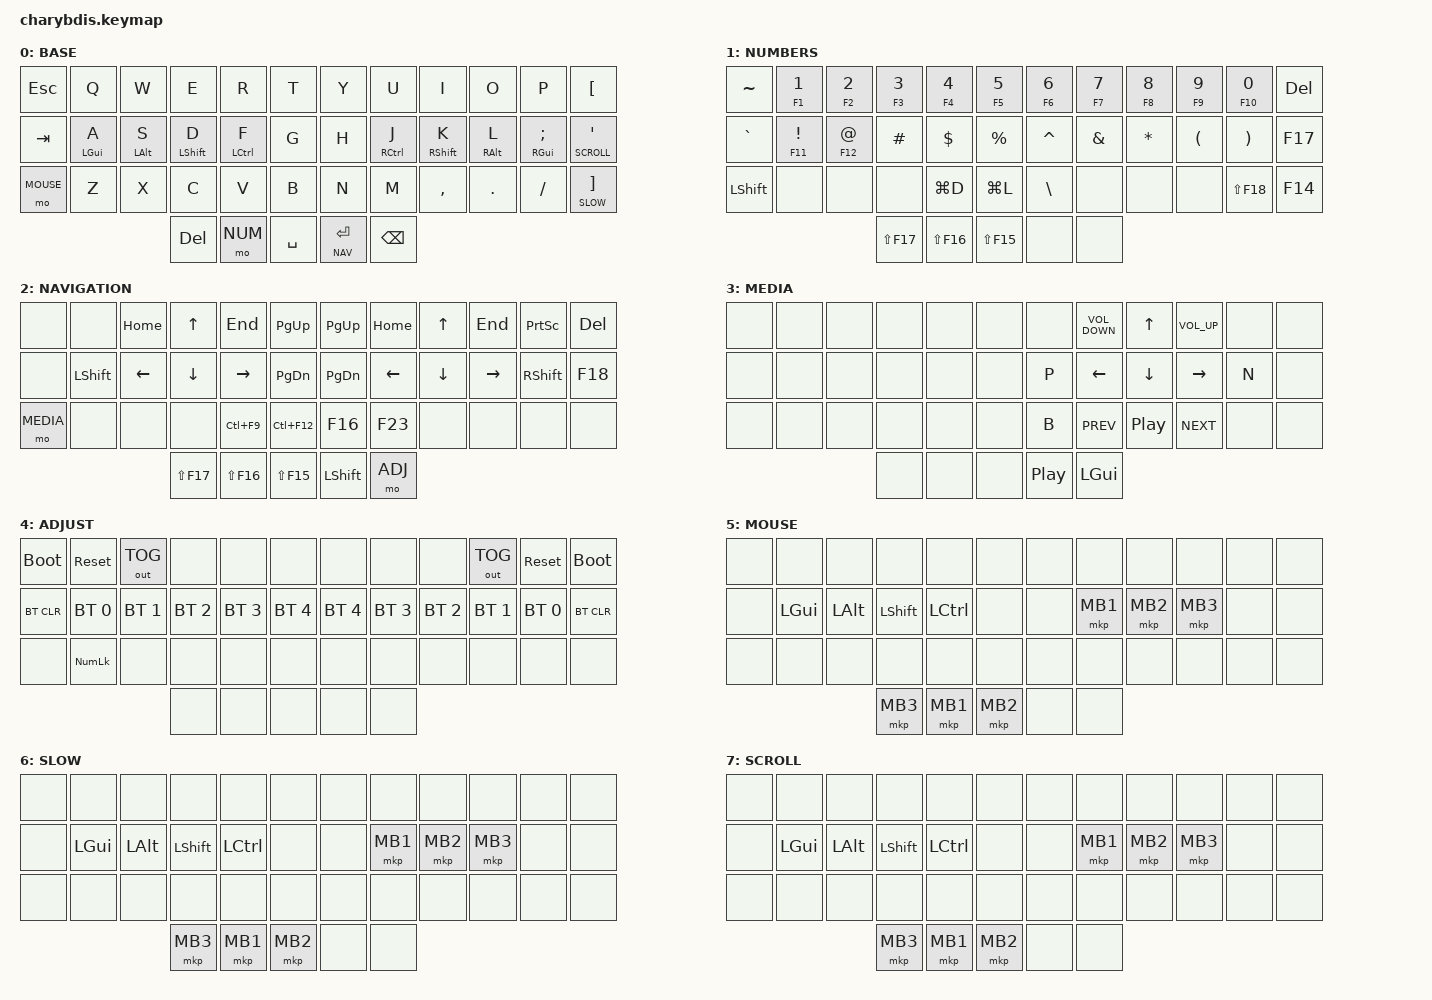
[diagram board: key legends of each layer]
/* upstream bindings and behaviors */
#include <behaviors.dtsi>
#include <dt-bindings/zmk/bt.h>
#include <dt-bindings/zmk/keys.h>
#include <dt-bindings/zmk/mouse.h>
#include <dt-bindings/zmk/outputs.h>
#include <behaviors/mouse_keys.dtsi>
#include <dt-bindings/zmk/ext_power.h>

/* local overlays */
//#include "macros.dtsi"
#include "behaviors.dtsi"
#include "combos.dtsi"
#include "layers.dtsi"

/ {
/* --- KEYMAP CONFIG --- */
// ╭──────┬──────┬──────┬──────┬──────┬──────╮  ╭──────┬──────┬──────┬──────┬──────┬──────╮
//    00     01     02     03    04      05        06     07     08     09     10     11
// ├──────┼──────┼──────┼──────┼──────┼──────┤  ├──────┼──────┼──────┼──────┼──────┼──────┤
//    12     13     14     15    16      17        18     19     20     21     22     23
// ├──────┼──────┼──────┼──────┼──────┼──────┤  ├──────┼──────┼──────┼──────┼──────┼──────┤
//    24     25     26     27    28      29        30     31     32     33     34     35
// ╰──────┴──────┴──────┼──────┼──────┼──────┤  ├──────┼──────┼──────┴──────┴──────┴──────╯
//                         36     37     38        39     40
//                      ╰──────┴──────┴──────╯  ╰──────┴──────╯

    keymap {
        compatible = "zmk,keymap";
        BASE {
			display-name = "BASE";
            bindings = <
// ╭─────────────┬───────────────┬───────────────┬────────────────┬────────────────┬──────────────╮   ╭───────────────┬────────────────┬────────────────┬───────────────┬──────────────────┬──────────────────────────╮
      &kp ESC       &kp Q           &kp W           &kp E            &kp R            &kp T              &kp Y           &kp U            &kp I            &kp O           &kp P              &kp LEFT_BRACKET
// ├─────────────┼───────────────┼───────────────┼────────────────┼────────────────┼──────────────┤   ├───────────────┼────────────────┼────────────────┼───────────────┼──────────────────┼──────────────────────────┤
	  &kp TAB       &hml LGUI A     &hml LALT S     &hml LSHFT D     &hml LCTRL F     &kp G              &kp H           &hmr RCTRL J     &hmr RSHFT K     &hmr RALT L     &hmr RGUI SEMI     &lt SCROLL SQT
// ├─────────────┼───────────────┼───────────────┼────────────────┼────────────────┼──────────────┤   ├───────────────┼────────────────┼────────────────┼───────────────┼──────────────────┼──────────────────────────┤
      &mo MOUSE     &kp Z           &kp X           &kp C            &kp V            &kp B              &kp N           &kp M            &kp COMMA        &kp DOT         &kp FSLH           &lt SLOW RIGHT_BRACKET
// ╰─────────────┴───────────────┼───────────────┼────────────────┼────────────────┼──────────────┤   ├───────────────┼────────────────┼────────────────┼───────────────┼──────────────────┴──────────────────────────╯
                                                    &kp DEL          &mo NUM          &kp  SPACE         &lt NAV RET     &kp BSPC
//                                               ╰────────────────┴────────────────┴──────────────╯   ╰───────────────┴────────────────╯
            >;
        };

        NUM {
			display-name = "NUMBERS";
			bindings = <
// ╭─────────────┬────────────────┬──────────────┬───────────────┬───────────────┬───────────────╮   ╭─────────────┬─────────────┬─────────────┬─────────────┬───────────────┬───────────╮
	  &kp TILDE     &hm F1 N1        &hm F2 N2      &hm F3 N3       &hm F4 N4       &hm F5 N5           &hm F6 N6     &hm F7 N7     &hm F8 N8     &hm F9 N9     &hm F10 N0      &kp DEL
// ├─────────────┼────────────────┼──────────────┼───────────────┼───────────────┼───────────────┤   ├─────────────┼─────────────┼─────────────┼─────────────┼───────────────┼───────────┤
	  &kp GRAVE     &hm F11 EXCL     &hm F12 AT     &kp HASH        &kp DLLR        &kp PRCNT           &kp CARET     &kp AMPS      &kp ASTRK     &kp LPAR      &kp RPAR        &kp F17
// ├─────────────┼────────────────┼──────────────┼───────────────┼───────────────┼───────────────┤   ├─────────────┼─────────────┼─────────────┼─────────────┼───────────────┼───────────┤
	  &kp LSHFT     &none            &none          &none           &kp LG(D)       &kp LG(L)           &kp BSLH      &none         &none         &none         &kp LS(F18)     &kp F14
// ╰─────────────┴────────────────┼──────────────┼───────────────┼───────────────┼───────────────┤   ├─────────────┼─────────────┼─────────────┼─────────────┼───────────────┴───────────╯
												    &kp LS(F17)     &kp LS(F16)     &kp LS(F15)         &none         &none
//                                               ╰───────────────┴───────────────┴───────────────╯   ╰─────────────┴─────────────╯
            >;
        };

        NAV {
			display-name = "NAVIGATION";
			bindings = <
// ╭─────────────┬─────────────┬────────────┬───────────────┬───────────────┬───────────────╮   ╭─────────────┬────────────┬────────────┬─────────────┬─────────────┬───────────╮
	  &none         &none         &kp HOME     &kp UP          &kp END         &kp PG_UP           &kp PG_UP     &kp HOME     &kp UP       &kp END       &kp PSCRN     &kp DEL
// ├─────────────┼─────────────┼────────────┼───────────────┼───────────────┼───────────────┤   ├─────────────┼────────────┼────────────┼─────────────┼─────────────┼───────────┤
	  &none         &kp LSHFT     &kp LEFT     &kp DOWN        &kp RIGHT       &kp PG_DN           &kp PG_DN     &kp LEFT     &kp DOWN     &kp RIGHT     &kp RSHFT     &kp F18
// ├─────────────┼─────────────┼────────────┼───────────────┼───────────────┼───────────────┤   ├─────────────┼────────────┼────────────┼─────────────┼─────────────┼───────────┤
	  &mo MEDIA     &none         &none        &none           &kp LC(F9)      &kp LC(F12)         &kp F16       &kp F23      &none        &none         &none         &none
// ╰─────────────┴─────────────┼────────────┼───────────────┼───────────────┼───────────────┤   ├─────────────┼────────────┼────────────┼─────────────┼─────────────┴───────────╯
											   &kp LS(F17)     &kp LS(F16)     &kp LS(F15)         &kp LSHFT     &mo ADJ
//                                          ╰───────────────┴───────────────┴───────────────╯   ╰─────────────┴────────────╯
            >;
        };

		MEDIA {
			display-name = "MEDIA";
			bindings = <
// ╭─────────┬─────────┬─────────┬─────────┬─────────┬─────────╮   ╭────────────────────┬─────────────────────┬────────────┬───────────────────┬─────────┬─────────╮
      &none     &none     &none     &none     &none     &none         &none                &kp C_VOLUME_DOWN     &kp UP       &kp C_VOLUME_UP     &none     &none
// ├─────────┼─────────┼─────────┼─────────┼─────────┼─────────┤   ├────────────────────┼─────────────────────┼────────────┼───────────────────┼─────────┼─────────┤
	  &none     &none     &none     &none     &none     &none         &kp P                &kp LEFT              &kp DOWN     &kp RIGHT           &kp N     &none
// ├─────────┼─────────┼─────────┼─────────┼─────────┼─────────┤   ├────────────────────┼─────────────────────┼────────────┼───────────────────┼─────────┼─────────┤
	  &none     &none     &none     &none     &none     &none         &kp B                &kp C_PREV            &kp C_PP     &kp C_NEXT          &none     &none
// ╰─────────┴─────────┼─────────┼─────────┼─────────┼─────────┤   ├────────────────────┼─────────────────────┼────────────┼───────────────────┼─────────┴─────────╯
									&none     &none    &none          &kp C_PLAY_PAUSE     &kp LGUI
//                               ╰─────────┴─────────┴─────────╯   ╰────────────────────┴─────────────────────╯
            >;
        };
		
		ADJUST {
			display-name = "ADJUST";
			bindings = <
// ╭───────────────┬──────────────────┬────────────────┬────────────────┬────────────────┬────────────────╮   ╭────────────────┬────────────────┬────────────────┬────────────────┬────────────────┬───────────────╮
	  &bootloader     &sys_reset         &out OUT_TOG     &none            &none            &none                &none            &none            &none            &out OUT_TOG     &sys_reset       &bootloader
// ├───────────────┼──────────────────┼────────────────┼────────────────┼────────────────┼────────────────┤   ├────────────────┼────────────────┼────────────────┼────────────────┼────────────────┼───────────────┤
	  &bt BT_CLR      &bt BT_SEL 0       &bt BT_SEL 1     &bt BT_SEL 2     &bt BT_SEL 3     &bt BT_SEL 4         &bt BT_SEL 4     &bt BT_SEL 3     &bt BT_SEL 2     &bt BT_SEL 1     &bt BT_SEL 0     &bt BT_CLR
// ├───────────────┼──────────────────┼────────────────┼────────────────┼────────────────┼────────────────┤   ├────────────────┼────────────────┼────────────────┼────────────────┼────────────────┼───────────────┤
	  &none           &kp KP_NUMLOCK     &none            &none            &none            &none                &none            &none            &none            &none            &none            &none
// ╰───────────────┴──────────────────┼────────────────┼────────────────┼────────────────┼────────────────┤   ├────────────────┼────────────────┼────────────────┼────────────────┼────────────────┴───────────────╯
												          &none            &none            &none                &none            &none
//                                                     ╰────────────────┴────────────────┴────────────────╯   ╰────────────────┴────────────────╯
			>;
		};
		
		MOUSE {
			display-name = "MOUSE";
			bindings = <
// ╭─────────┬────────────┬────────────┬─────────────┬─────────────┬────────────╮   ╭─────────┬────────────┬────────────┬────────────┬─────────┬─────────╮
      &none     &none        &none        &none         &none         &none            &none     &none        &none        &none        &none     &none
// ├─────────┼────────────┼────────────┼─────────────┼─────────────┼────────────┤   ├─────────┼────────────┼────────────┼────────────┼─────────┼─────────┤
	  &none     &kp LGUI     &kp LALT     &kp LSHFT     &kp LCTRL     &none            &none     &mkp MB1     &mkp MB2     &mkp MB3     &none     &none
// ├─────────┼────────────┼────────────┼─────────────┼─────────────┼────────────┤   ├─────────┼────────────┼────────────┼────────────┼─────────┼─────────┤
      &none     &none        &none        &none         &none         &none            &none     &none        &none        &none        &none     &none
// ╰─────────┴────────────┼────────────┼─────────────┼─────────────┼────────────┤   ├─────────┼────────────┼────────────┼────────────┼─────────┴─────────╯
                                          &mkp MB3      &mkp MB1      &mkp MB2         &none     &none
//                                     ╰─────────────┴─────────────┴────────────╯   ╰─────────┴────────────╯
			>;
		};

        SLOW {
			display-name = "SLOW";
            bindings = <
// ╭─────────┬────────────┬────────────┬─────────────┬─────────────┬────────────╮   ╭─────────┬────────────┬────────────┬────────────┬─────────┬─────────╮
      &none     &none        &none        &none         &none         &none            &none     &none        &none        &none        &none     &none
// ├─────────┼────────────┼────────────┼─────────────┼─────────────┼────────────┤   ├─────────┼────────────┼────────────┼────────────┼─────────┼─────────┤
	  &none     &kp LGUI     &kp LALT     &kp LSHFT     &kp LCTRL     &none            &none     &mkp MB1     &mkp MB2     &mkp MB3     &none     &none
// ├─────────┼────────────┼────────────┼─────────────┼─────────────┼────────────┤   ├─────────┼────────────┼────────────┼────────────┼─────────┼─────────┤
      &none     &none        &none        &none         &none         &none            &none     &none        &none        &none        &none     &none
// ╰─────────┴────────────┼────────────┼─────────────┼─────────────┼────────────┤   ├─────────┼────────────┼────────────┼────────────┼─────────┴─────────╯
                                          &mkp MB3      &mkp MB1      &mkp MB2         &none     &none
//                                     ╰─────────────┴─────────────┴────────────╯   ╰─────────┴────────────╯
            >;
        };

        SCROLL {
			display-name = "SCROLL";
            bindings = <
// ╭─────────┬────────────┬────────────┬─────────────┬─────────────┬────────────╮   ╭─────────┬────────────┬────────────┬────────────┬─────────┬─────────╮
      &none     &none        &none        &none         &none         &none            &none     &none        &none        &none        &none     &none
// ├─────────┼────────────┼────────────┼─────────────┼─────────────┼────────────┤   ├─────────┼────────────┼────────────┼────────────┼─────────┼─────────┤
	  &none     &kp LGUI     &kp LALT     &kp LSHFT     &kp LCTRL     &none            &none     &mkp MB1     &mkp MB2     &mkp MB3     &none     &none
// ├─────────┼────────────┼────────────┼─────────────┼─────────────┼────────────┤   ├─────────┼────────────┼────────────┼────────────┼─────────┼─────────┤
      &none     &none        &none        &none         &none         &none            &none     &none        &none        &none        &none     &none
// ╰─────────┴────────────┼────────────┼─────────────┼─────────────┼────────────┤   ├─────────┼────────────┼────────────┼────────────┼─────────┴─────────╯
                                          &mkp MB3      &mkp MB1      &mkp MB2         &none     &none
//                                     ╰─────────────┴─────────────┴────────────╯   ╰─────────┴────────────╯
            >;
        };

    };
};
